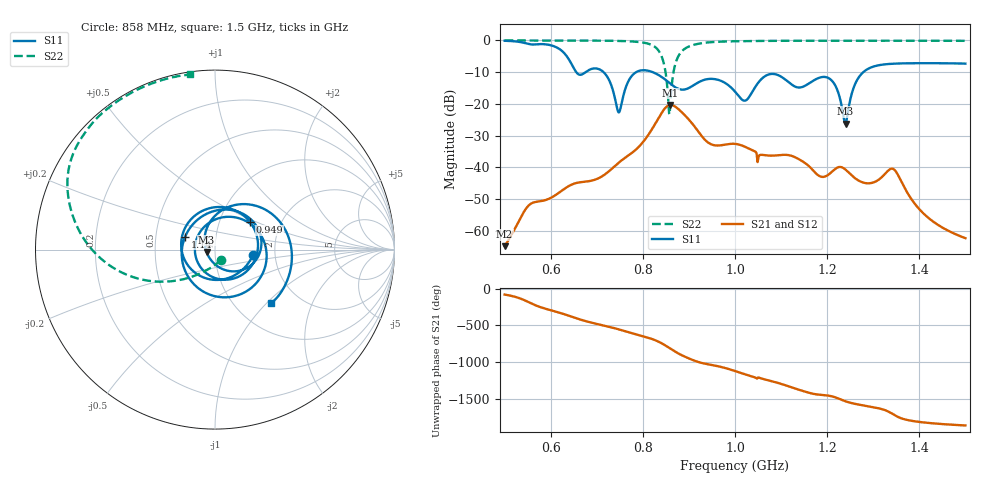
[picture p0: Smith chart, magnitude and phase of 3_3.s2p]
! TOUCHSTONE file generated by CST MICROWAVE STUDIO
! Date and time: Fri Dec 11 13:52:45 2020
! Project name: Scenario_1_Planar_Body_Tissue_Out_of_Line_v2.cst
! Parameters = {dy1=-311.4; L_HA=400; Ltissue=700; MT=2.54; Rad_Dielectric=30; Rad_Lower=7.3; Rad_Upper=30; Wtissue=700; a_HA=580; a_WG=246; b_HA=500; b_WG=121; c_HA=0; c_WG=187; d_feed=85; dx1=520; h_feed=15; h_lower=18; h_upper=40; hfat=3; hgap=25; hmuscle=50; hskin=1.5}
! Header version: 2018
! Port assignment regex: !\s*Touchstone port\s*([0-9]+)\s*=\s*(CST MWS port|CST DS port)\s*([0-9]+|Zmin|Zmax)\s*\(\"(.*)\"\)(\s*mode\s*([0-9]+))?.*
! Touchstone port assignment:
! Touchstone port 1 = CST MWS port 1 ("")
! Touchstone port 2 = CST MWS port 2 ("")
# GHz S DB R 50
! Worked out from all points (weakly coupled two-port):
!   1003 points, 500 MHz to 1.5 GHz, reference 50 ohm
!   highest |S21| = -20.32 dB at 860 MHz (marker M1); lowest = -64.8 dB at 500 MHz (marker M2)
!   lowest |S11| = -26.2 dB at 1.24 GHz (marker M3), VSWR 1.10, Z = 45.5 - j1.21 ohm
!   |S11| at or under -10 dB: 655.6 MHz to 675.6 MHz (19.97 MHz wide, 3 % of centre); 714.8 MHz to 785.4 MHz (70.56 MHz wide, 9.41 % of centre); 821.6 MHz to 1.278 GHz (456.8 MHz wide, 43.5 % of centre)
!   |S22| runs from -23.3 to 0.0 dB; largest |S21 - S12| = 0.0009
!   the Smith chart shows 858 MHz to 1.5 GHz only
!   S11 on the Smith chart (normalised r, x): 858 MHz: 1.53, -0.10; 949 MHz: 1.40, +0.46; 1.14 GHz: 0.71, +0.11; 1.5 GHz: 1.46, -1.06
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0.5  -0.10 -122.0  -64.82 -78.9  -64.82 -78.9  -0.01 151.2
0.596  -1.39 -173.7  -49.89 74.8  -49.89 74.8  -0.02 144.4
0.632  -4.45 150.0  -46.54 7.9  -46.54 7.9  -0.03 141.6
0.667  -10.76 157.3  -44.63 -64.8  -44.63 -64.8  -0.04 138.4
0.715  -10.03 114.0  -42.48 -139.6  -42.48 -139.6  -0.08 133.0
0.748  -22.70 -32.3  -38.47 166.3  -38.47 166.3  -0.16 127.9
0.787  -9.87 162.0  -34.12 97.0  -34.12 97.0  -0.44 118.1
0.834  -10.89 56.1  -24.45 -0.6  -24.45 -0.6  -3.19 83.5
0.858  -13.42 -8.4  -20.35 -89.3  -20.35 -89.3  -23.29 -60.9
0.86  -13.66 -14.4  -20.32 -97.5  -20.32 -97.5  -19.10 -106.7
0.882  -15.45 -89.3  -22.27 -177.3  -22.27 -177.3  -3.85 -175.9
0.949  -12.10 38.3  -32.76 42.6  -32.76 42.6  -0.54 149.3
1  -16.13 -92.3  -32.58 -40.3  -32.58 -40.3  -0.27 140.2
1.045  -14.43 73.1  -35.13 -132.1  -35.12 -132.4  -0.18 135.0
1.074  -10.68 -11.6  -36.29 -169.6  -36.29 -169.6  -0.14 132.1
1.14  -14.84 156.5  -37.53 62.2  -37.53 62.2  -0.11 126.4
1.167  -12.94 80.7  -40.55 13.3  -40.55 13.3  -0.10 124.2
1.211  -12.79 -17.8  -41.30 -26.3  -41.30 -26.3  -0.09 120.8
1.24  -26.18 -164.3  -40.72 -92.9  -40.72 -92.9  -0.09 118.7
1.272  -10.97 62.8  -44.43 -141.1  -44.43 -141.1  -0.08 116.2
1.334  -7.42 0.5  -40.81 124.1  -40.84 124.3  -0.08 111.5
1.5  -7.31 -43.4  -62.30 -61.4  -62.30 -61.4  -0.13 98.0
